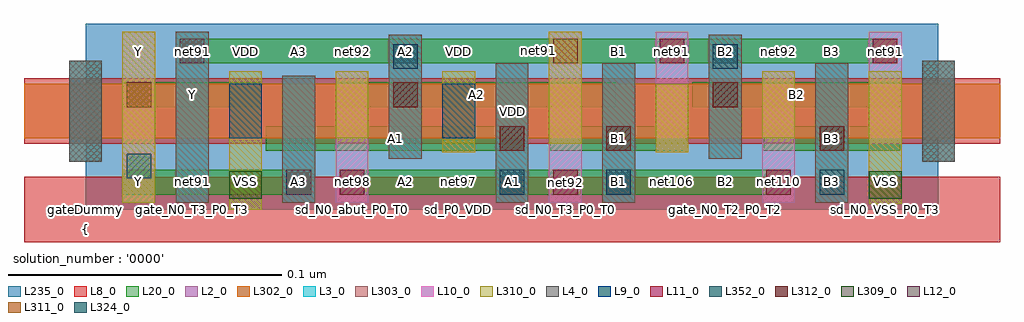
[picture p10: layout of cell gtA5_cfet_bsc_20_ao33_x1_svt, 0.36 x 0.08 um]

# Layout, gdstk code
import gdstk
lib = gdstk.Library(unit=1e-6, precision=2.5e-10)
def R(c, l, rs):  # rectangles x0, y0, x1, y1
    for r in rs: c.add(gdstk.rectangle(r[:2], r[2:], *l))
def A(c, l, x, y, w, h, nx, ny, dx, dy):  # array of equal rectangles
    R(c, l, [(x+i*dx, y+j*dy, x+i*dx+w, y+j*dy+h) for i in range(nx) for j in range(ny)])
L2_0 = (2, 0)
L3_0 = (3, 0)
L4_0 = (4, 0)
L8_0 = (8, 0)
L9_0 = (9, 0)
L10_0 = (10, 0)
L11_0 = (11, 0)
L12_0 = (12, 0)
L20_0 = (20, 0)
L235_0 = (235, 0)
L302_0 = (302, 0)
L303_0 = (303, 0)
L309_0 = (309, 0)
L310_0 = (310, 0)
L311_0 = (311, 0)
L312_0 = (312, 0)
L324_0 = (324, 0)
L352_0 = (352, 0)

gta5_cfet_bsc_20_ao33_x1 = lib.new_cell('gtA5_cfet_bsc_20_ao33_x1_svt')
R(gta5_cfet_bsc_20_ao33_x1, L2_0, [(-0.0225,0.026,0.3345,0.046)])
R(gta5_cfet_bsc_20_ao33_x1, L3_0, [(0.033,0.0025,0.045,0.065), (0.072,0.0025,0.084,0.049), (0.15,0.0025,0.162,0.0535), (0.189,0.0025,0.201,0.0535), (0.267,0.0025,0.279,0.0535), (-0.006,0.0175,0.006,0.0545), (0.306,0.0175,0.318,0.0545), (0.111,0.0185,0.123,0.064), (0.228,0.0185,0.24,0.064)])
R(gta5_cfet_bsc_20_ao33_x1, L4_0, [(-0.006,0.0175,0.006,0.0545), (0.306,0.0175,0.318,0.0545)])
R(gta5_cfet_bsc_20_ao33_x1, L8_0, [(-0.0225,-0.012,0.3345,0.012), (-0.0225,0.024,0.3345,0.048)])
R(gta5_cfet_bsc_20_ao33_x1, L9_0, [(0.0525,0.026,0.0645,0.046), (0.1305,0.026,0.1425,0.046)])
R(gta5_cfet_bsc_20_ao33_x1, L10_0, [(0.0135,0.0025,0.0255,0.065), (0.0915,0.0025,0.1035,0.0505), (0.1695,0.0025,0.1815,0.065), (0.2475,0.0025,0.2595,0.0505), (0.2085,0.021,0.2205,0.065), (0.2865,0.024,0.2985,0.065)])
A(gta5_cfet_bsc_20_ao33_x1, L11_0, 0.093, 0.0055, 0.009, 0.009, 3, 1, 0.078, 0)
R(gta5_cfet_bsc_20_ao33_x1, L11_0, [(0.21,0.0535,0.219,0.0625), (0.288,0.0535,0.297,0.0625)])
R(gta5_cfet_bsc_20_ao33_x1, L12_0, [(0.0735,0.0055,0.0825,0.0145), (0.0345,0.0535,0.0435,0.0625)])
R(gta5_cfet_bsc_20_ao33_x1, L20_0, [(0.014,0.0055,0.0825,0.0145), (0.093,0.0055,0.258,0.0145), (0.066,0.0215,0.1605,0.0305), (0.17,0.0215,0.22,0.0305), (0.248,0.0215,0.298,0.0305), (0.014,0.0375,0.064,0.0465), (0.092,0.0375,0.194,0.0465), (0.222,0.0375,0.298,0.0465), (0.0345,0.0535,0.297,0.0625)])
R(gta5_cfet_bsc_20_ao33_x1, L235_0, [(0,0,0.312,0.068)])
R(gta5_cfet_bsc_20_ao33_x1, L302_0, [(-0.0225,0.026,0.3345,0.046)])
R(gta5_cfet_bsc_20_ao33_x1, L303_0, [(0.033,0.0025,0.045,0.065), (0.072,0.0025,0.084,0.049), (0.15,0.0025,0.162,0.0535), (0.189,0.0025,0.201,0.0535), (0.267,0.0025,0.279,0.0535), (-0.006,0.0175,0.006,0.0545), (0.306,0.0175,0.318,0.0545), (0.111,0.0185,0.123,0.064), (0.228,0.0185,0.24,0.064)])
R(gta5_cfet_bsc_20_ao33_x1, L309_0, [(0.0525,0.004,0.0645,0.014), (0.2865,0.004,0.2985,0.014)])
R(gta5_cfet_bsc_20_ao33_x1, L310_0, [(0.0525,0,0.0645,0.0505), (0.2865,0.002,0.2985,0.0505), (0.0135,0.0025,0.0255,0.065), (0.1305,0.021,0.1425,0.0505), (0.2085,0.021,0.2205,0.046), (0.1695,0.024,0.1815,0.065), (0.0915,0.026,0.1035,0.0505), (0.2475,0.026,0.2595,0.0505)])
R(gta5_cfet_bsc_20_ao33_x1, L311_0, [(0.015,0.0375,0.024,0.0465), (0.171,0.0535,0.18,0.0625)])
R(gta5_cfet_bsc_20_ao33_x1, L312_0, [(0.1515,0.0215,0.1605,0.0305), (0.1905,0.0215,0.1995,0.0305), (0.2685,0.0215,0.2775,0.0305), (0.1125,0.0375,0.1215,0.0465), (0.2295,0.0375,0.2385,0.0465)])
R(gta5_cfet_bsc_20_ao33_x1, L324_0, [(0.015,0.0115,0.024,0.0205)])
R(gta5_cfet_bsc_20_ao33_x1, L352_0, [(0.1515,0.0055,0.1605,0.0145), (0.1905,0.0055,0.1995,0.0145), (0.2685,0.0055,0.2775,0.0145), (0.1125,0.0515,0.1215,0.0605), (0.2295,0.0515,0.2385,0.0605)])
gta5_cfet_bsc_20_ao33_x1.add(gdstk.Label('net92', (0.1755,0.01), layer=100, texttype=100))
gta5_cfet_bsc_20_ao33_x1.add(gdstk.Label('net91', (0.1658,0.058), layer=100, texttype=100))
gta5_cfet_bsc_20_ao33_x1.add(gdstk.Label('gateDummy', (0,0), layer=103, texttype=103))
gta5_cfet_bsc_20_ao33_x1.add(gdstk.Label('sd_N0_T2_P0_T2', (0.0195,0), layer=103, texttype=103))
gta5_cfet_bsc_20_ao33_x1.add(gdstk.Label('gate_N0_T3_P0_T3', (0.039,0), layer=103, texttype=103))
gta5_cfet_bsc_20_ao33_x1.add(gdstk.Label('sd_N0_VSS_P0_VDD', (0.0585,0), layer=103, texttype=103))
gta5_cfet_bsc_20_ao33_x1.add(gdstk.Label('gate_N0_T0_P0_T0', (0.078,0), layer=103, texttype=103))
gta5_cfet_bsc_20_ao33_x1.add(gdstk.Label('sd_N0_abut_P0_T0', (0.0975,0), layer=103, texttype=103))
gta5_cfet_bsc_20_ao33_x1.add(gdstk.Label('gate_N0_T2_P0_T2', (0.117,0), layer=103, texttype=103))
gta5_cfet_bsc_20_ao33_x1.add(gdstk.Label('sd_P0_VDD', (0.1365,0), layer=103, texttype=103))
gta5_cfet_bsc_20_ao33_x1.add(gdstk.Label('gate_N0_T1_P0_T1', (0.156,0), layer=103, texttype=103))
gta5_cfet_bsc_20_ao33_x1.add(gdstk.Label('sd_N0_T3_P0_T0', (0.1755,0), layer=103, texttype=103))
gta5_cfet_bsc_20_ao33_x1.add(gdstk.Label('gate_N0_T1_P0_T1', (0.195,0), layer=103, texttype=103))
gta5_cfet_bsc_20_ao33_x1.add(gdstk.Label('sd_N0_abut_P0_T3', (0.2145,0), layer=103, texttype=103))
gta5_cfet_bsc_20_ao33_x1.add(gdstk.Label('gate_N0_T2_P0_T2', (0.234,0), layer=103, texttype=103))
gta5_cfet_bsc_20_ao33_x1.add(gdstk.Label('sd_N0_abut_P0_T0', (0.2535,0), layer=103, texttype=103))
gta5_cfet_bsc_20_ao33_x1.add(gdstk.Label('gate_N0_T1_P0_T1', (0.273,0), layer=103, texttype=103))
gta5_cfet_bsc_20_ao33_x1.add(gdstk.Label('sd_N0_VSS_P0_T3', (0.2925,0), layer=103, texttype=103))
gta5_cfet_bsc_20_ao33_x1.add(gdstk.Label('gateDummy', (0.312,0), layer=103, texttype=103))
gta5_cfet_bsc_20_ao33_x1.add(gdstk.Label('}', (0,-0.0742), layer=104, texttype=104))
gta5_cfet_bsc_20_ao33_x1.add(gdstk.Label('  power : None', (0,-0.0675), layer=104, texttype=104))
gta5_cfet_bsc_20_ao33_x1.add(gdstk.Label('  performance : None', (0,-0.0607), layer=104, texttype=104))
gta5_cfet_bsc_20_ao33_x1.add(gdstk.Label("  solution_hash : '11432584676845425920'", (0,-0.054), layer=104, texttype=104))
gta5_cfet_bsc_20_ao33_x1.add(gdstk.Label('  number_m2 : 0', (0,-0.0473), layer=104, texttype=104))
gta5_cfet_bsc_20_ao33_x1.add(gdstk.Label('  number_m1 : 0', (0,-0.0405), layer=104, texttype=104))
gta5_cfet_bsc_20_ao33_x1.add(gdstk.Label('  number_m0cuts : 0', (0,-0.0338), layer=104, texttype=104))
gta5_cfet_bsc_20_ao33_x1.add(gdstk.Label('  number_m0 : 9', (0,-0.027), layer=104, texttype=104))
gta5_cfet_bsc_20_ao33_x1.add(gdstk.Label("  solution_number : '0000'", (0,-0.0203), layer=104, texttype=104))
gta5_cfet_bsc_20_ao33_x1.add(gdstk.Label("  placement_id : '1592545872943330252'", (0,-0.0135), layer=104, texttype=104))
gta5_cfet_bsc_20_ao33_x1.add(gdstk.Label('{', (0,-0.0067), layer=104, texttype=104))
gta5_cfet_bsc_20_ao33_x1.add(gdstk.Label('Y', (0.0195,0.0103), layer=105, texttype=105))
gta5_cfet_bsc_20_ao33_x1.add(gdstk.Label('net91', (0.039,0.0103), layer=105, texttype=105))
gta5_cfet_bsc_20_ao33_x1.add(gdstk.Label('VSS', (0.0585,0.0103), layer=105, texttype=105))
gta5_cfet_bsc_20_ao33_x1.add(gdstk.Label('A3', (0.078,0.0103), layer=105, texttype=105))
gta5_cfet_bsc_20_ao33_x1.add(gdstk.Label('net98', (0.0975,0.0103), layer=105, texttype=105))
gta5_cfet_bsc_20_ao33_x1.add(gdstk.Label('A2', (0.117,0.0103), layer=105, texttype=105))
gta5_cfet_bsc_20_ao33_x1.add(gdstk.Label('net97', (0.1365,0.0103), layer=105, texttype=105))
gta5_cfet_bsc_20_ao33_x1.add(gdstk.Label('A1', (0.156,0.0103), layer=105, texttype=105))
gta5_cfet_bsc_20_ao33_x1.add(gdstk.Label('net91', (0.1755,0.0103), layer=105, texttype=105))
gta5_cfet_bsc_20_ao33_x1.add(gdstk.Label('B1', (0.195,0.0103), layer=105, texttype=105))
gta5_cfet_bsc_20_ao33_x1.add(gdstk.Label('net106', (0.2145,0.0103), layer=105, texttype=105))
gta5_cfet_bsc_20_ao33_x1.add(gdstk.Label('B2', (0.234,0.0103), layer=105, texttype=105))
gta5_cfet_bsc_20_ao33_x1.add(gdstk.Label('net110', (0.2535,0.0103), layer=105, texttype=105))
gta5_cfet_bsc_20_ao33_x1.add(gdstk.Label('B3', (0.273,0.0103), layer=105, texttype=105))
gta5_cfet_bsc_20_ao33_x1.add(gdstk.Label('VSS', (0.2925,0.0103), layer=105, texttype=105))
gta5_cfet_bsc_20_ao33_x1.add(gdstk.Label('Y', (0.0195,0.0578), layer=105, texttype=105))
gta5_cfet_bsc_20_ao33_x1.add(gdstk.Label('net91', (0.039,0.0578), layer=105, texttype=105))
gta5_cfet_bsc_20_ao33_x1.add(gdstk.Label('VDD', (0.0585,0.0578), layer=105, texttype=105))
gta5_cfet_bsc_20_ao33_x1.add(gdstk.Label('A3', (0.078,0.0578), layer=105, texttype=105))
gta5_cfet_bsc_20_ao33_x1.add(gdstk.Label('net92', (0.0975,0.0578), layer=105, texttype=105))
gta5_cfet_bsc_20_ao33_x1.add(gdstk.Label('A2', (0.117,0.0578), layer=105, texttype=105))
gta5_cfet_bsc_20_ao33_x1.add(gdstk.Label('VDD', (0.1365,0.0578), layer=105, texttype=105))
gta5_cfet_bsc_20_ao33_x1.add(gdstk.Label('A1', (0.156,0.0578), layer=105, texttype=105))
gta5_cfet_bsc_20_ao33_x1.add(gdstk.Label('net92', (0.1755,0.0578), layer=105, texttype=105))
gta5_cfet_bsc_20_ao33_x1.add(gdstk.Label('B1', (0.195,0.0578), layer=105, texttype=105))
gta5_cfet_bsc_20_ao33_x1.add(gdstk.Label('net91', (0.2145,0.0578), layer=105, texttype=105))
gta5_cfet_bsc_20_ao33_x1.add(gdstk.Label('B2', (0.234,0.0578), layer=105, texttype=105))
gta5_cfet_bsc_20_ao33_x1.add(gdstk.Label('net92', (0.2535,0.0578), layer=105, texttype=105))
gta5_cfet_bsc_20_ao33_x1.add(gdstk.Label('B3', (0.273,0.0578), layer=105, texttype=105))
gta5_cfet_bsc_20_ao33_x1.add(gdstk.Label('net91', (0.2925,0.0578), layer=105, texttype=105))
gta5_cfet_bsc_20_ao33_x1.add(gdstk.Label('VSS', (0.156,0), layer=8, texttype=0))
gta5_cfet_bsc_20_ao33_x1.add(gdstk.Label('VDD', (0.156,0.036), layer=8, texttype=0))
gta5_cfet_bsc_20_ao33_x1.add(gdstk.Label('A3', (0.0483,0.01), layer=20, texttype=251))
gta5_cfet_bsc_20_ao33_x1.add(gdstk.Label('A1', (0.1133,0.026), layer=20, texttype=251))
gta5_cfet_bsc_20_ao33_x1.add(gdstk.Label('B1', (0.195,0.026), layer=20, texttype=251))
gta5_cfet_bsc_20_ao33_x1.add(gdstk.Label('B3', (0.273,0.026), layer=20, texttype=251))
gta5_cfet_bsc_20_ao33_x1.add(gdstk.Label('Y', (0.039,0.042), layer=20, texttype=251))
gta5_cfet_bsc_20_ao33_x1.add(gdstk.Label('A2', (0.143,0.042), layer=20, texttype=251))
gta5_cfet_bsc_20_ao33_x1.add(gdstk.Label('B2', (0.26,0.042), layer=20, texttype=251))
gta5_cfet_bsc_20_ao33_x1.add(gdstk.Label('gtA5_cfet_bsc_20nm_ao33_x1_rvt_0', (0,0), layer=235, texttype=0))

lib.write_gds('gtA5_cfet_bsc_20_ao33_x1_svt.gds')
